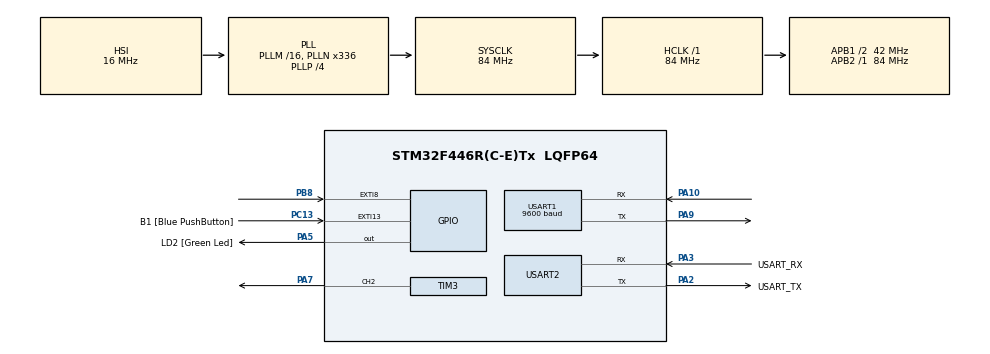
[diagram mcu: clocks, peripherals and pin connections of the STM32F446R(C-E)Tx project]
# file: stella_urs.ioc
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Mcu.Family=STM32F4
Mcu.Name=STM32F446R(C-E)Tx
Mcu.Package=LQFP64
NVIC.EXTI15_10_IRQn=true\:0\:0\:false\:false\:true\:true\:true\:true
NVIC.EXTI9_5_IRQn=true\:0\:0\:false\:false\:true\:true\:true\:true
NVIC.PriorityGroup=NVIC_PRIORITYGROUP_0
PA10.Mode=Asynchronous
PA10.Signal=USART1_RX
PA13.GPIO_Label=TMS
PA13.Mode=Serial_Wire
PA13.Signal=SYS_JTMS-SWDIO
PA14.GPIO_Label=TCK
PA14.Mode=Serial_Wire
PA14.Signal=SYS_JTCK-SWCLK
PA2.GPIO_Label=USART_TX
PA2.Mode=Asynchronous
PA2.Signal=USART2_TX
PA3.GPIO_Label=USART_RX
PA3.Mode=Asynchronous
PA3.Signal=USART2_RX
PA5.GPIO_Label=LD2 [Green Led]
PA5.Signal=GPIO_Output
PA7.Signal=S_TIM3_CH2
PA9.Mode=Asynchronous
PA9.Signal=USART1_TX
PB3.GPIO_Label=SWO
PB3.Signal=SYS_JTDO-SWO
PB8.Signal=GPXTI8
PC13.GPIO_Label=B1 [Blue PushButton]
PC13.GPIO_ModeDefaultEXTI=GPIO_MODE_IT_FALLING
PC13.Signal=GPXTI13
PC14-OSC32_IN.Mode=LSE-External-Oscillator
PC14-OSC32_IN.Signal=RCC_OSC32_IN
PC15-OSC32_OUT.Mode=LSE-External-Oscillator
PC15-OSC32_OUT.Signal=RCC_OSC32_OUT
PH0-OSC_IN.Mode=HSE-External-Oscillator
PH0-OSC_IN.Signal=RCC_OSC_IN
PH1-OSC_OUT.Mode=HSE-External-Oscillator
PH1-OSC_OUT.Signal=RCC_OSC_OUT
ProjectManager.HeapSize=0x200
ProjectManager.StackSize=0x400
ProjectManager.TargetToolchain=STM32CubeIDE
RCC.48MHZClocksFreq_Value=84000000
RCC.AHBFreq_Value=84000000
RCC.APB1CLKDivider=RCC_HCLK_DIV2
RCC.APB1Freq_Value=42000000
RCC.APB1TimFreq_Value=84000000
RCC.APB2Freq_Value=84000000
RCC.APB2TimFreq_Value=84000000
RCC.CortexFreq_Value=84000000
RCC.FLatency-AdvancedSettings=FLASH_LATENCY_2
RCC.HCLKFreq_Value=84000000
RCC.HSE_VALUE=8000000
RCC.HSI_VALUE=16000000
RCC.PLLN=336
RCC.PLLP=RCC_PLLP_DIV4
RCC.SYSCLKFreq_VALUE=84000000
RCC.SYSCLKSource=RCC_SYSCLKSOURCE_PLLCLK
RCC.USBFreq_Value=168000000
RCC.VCOOutputFreq_Value=336000000
SH.S_TIM3_CH2.0=TIM3_CH2,PWM Generation2 CH2
TIM3.Channel-PWM\ Generation2\ CH2=TIM_CHANNEL_2
TIM3.ClockDivision=TIM_CLOCKDIVISION_DIV1
TIM3.Period=10499
TIM3.Prescaler=15
TIM3.Pulse-PWM\ Generation2\ CH2=5250
USART1.BaudRate=9600
USART1.VirtualMode=VM_ASYNC
USART2.VirtualMode=VM_ASYNC
board=NUCLEO-F446RE

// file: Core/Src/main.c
/* USER CODE BEGIN Header */
/**
  ******************************************************************************
  * @file           : main.c
  * @brief          : Main program body
  ******************************************************************************
  * @attention
  *
  * Copyright (c) 2024 STMicroelectronics.
  * All rights reserved.
  *
  * This software is licensed under terms that can be found in the LICENSE file
  * in the root directory of this software component.
  * If no LICENSE file comes with this software, it is provided AS-IS.
  *
  ******************************************************************************
  */
/* USER CODE END Header */
#include "main.h"
#include "tim.h"
#include "usart.h"
#include "gpio.h"

/* USER CODE BEGIN Includes */

#include "sim900.h"

#include <stdbool.h>

/* USER CODE END Includes */

void SystemClock_Config(void);

int main(void)
{

  /* MCU Configuration--------------------------------------------------------*/

  /* Reset of all peripherals, Initializes the Flash interface and the Systick. */
  HAL_Init();

  /* Configure the system clock */
  SystemClock_Config();

  /* Initialize all configured peripherals */
  MX_GPIO_Init();
  MX_USART2_UART_Init();
  MX_TIM3_Init();
  MX_USART1_UART_Init();

  /* Infinite loop */
  /* USER CODE BEGIN WHILE */
  sim900Init();

  uint32_t blinkerStart = 0;
  bool ledState = false;

  bool alarmRunning = false;

  extern bool monoxAlarmFlag;
  extern bool buttonFlag;

  monoxAlarmFlag = false;
  buttonFlag = false;

  while (1)
  {

	  if( monoxAlarmFlag )
	  {
		  monoxAlarmFlag = false;

		  if( !alarmRunning )
		  {
			  alarmRunning = true;

			  uartPrintf("Got alert from CO sensor! Start buzzing and send SMS\r\n");
			  startBuzz();
			  sim900SendSMS();
		  }
	  }
	  if( buttonFlag )
	  {
		  buttonFlag = false;

		  if( alarmRunning )
		  {
			  alarmRunning = false;

			  uartPrintf("Received button press, stop buzzing\r\n");
			  stopBuzz();
		  }
	  }
	  if( HAL_GetTick()-blinkerStart > 1000 ) // sprema vrijeme pocetka programa i togglea ledicu na 1000 ms
	  {
		  uartPrintf("Toggling LED. Program running for %d ms already!\r\n", HAL_GetTick());

		  blinkerStart = HAL_GetTick();

		  HAL_GPIO_WritePin(LD2_GPIO_Port, LD2_Pin, ledState ? GPIO_PIN_SET : GPIO_PIN_RESET );
		  ledState = !ledState;   // mijenja stanje ledice
	  }
	  HAL_Delay(100);
    /* USER CODE END WHILE */

  }
}

void SystemClock_Config(void)
{
  RCC_OscInitTypeDef RCC_OscInitStruct = {0};
  RCC_ClkInitTypeDef RCC_ClkInitStruct = {0};

  /** Configure the main internal regulator output voltage
  */
  __HAL_RCC_PWR_CLK_ENABLE();
  __HAL_PWR_VOLTAGESCALING_CONFIG(PWR_REGULATOR_VOLTAGE_SCALE3);

  /** Initializes the RCC Oscillators according to the specified parameters
  * in the RCC_OscInitTypeDef structure.
  */
  RCC_OscInitStruct.OscillatorType = RCC_OSCILLATORTYPE_HSI;
  RCC_OscInitStruct.HSIState = RCC_HSI_ON;
  RCC_OscInitStruct.HSICalibrationValue = RCC_HSICALIBRATION_DEFAULT;
  RCC_OscInitStruct.PLL.PLLState = RCC_PLL_ON;
  RCC_OscInitStruct.PLL.PLLSource = RCC_PLLSOURCE_HSI;
  RCC_OscInitStruct.PLL.PLLM = 16;
  RCC_OscInitStruct.PLL.PLLN = 336;
  RCC_OscInitStruct.PLL.PLLP = RCC_PLLP_DIV4;
  RCC_OscInitStruct.PLL.PLLQ = 2;
  RCC_OscInitStruct.PLL.PLLR = 2;
  if (HAL_RCC_OscConfig(&RCC_OscInitStruct) != HAL_OK)
  {
    Error_Handler();
  }

  /** Initializes the CPU, AHB and APB buses clocks
  */
  RCC_ClkInitStruct.ClockType = RCC_CLOCKTYPE_HCLK|RCC_CLOCKTYPE_SYSCLK
                              |RCC_CLOCKTYPE_PCLK1|RCC_CLOCKTYPE_PCLK2;
  RCC_ClkInitStruct.SYSCLKSource = RCC_SYSCLKSOURCE_PLLCLK;
  RCC_ClkInitStruct.AHBCLKDivider = RCC_SYSCLK_DIV1;
  RCC_ClkInitStruct.APB1CLKDivider = RCC_HCLK_DIV2;
  RCC_ClkInitStruct.APB2CLKDivider = RCC_HCLK_DIV1;

  if (HAL_RCC_ClockConfig(&RCC_ClkInitStruct, FLASH_LATENCY_2) != HAL_OK)
  {
    Error_Handler();
  }
}

void Error_Handler(void)
{
  __disable_irq();
  while (1)
  {
  }
}
